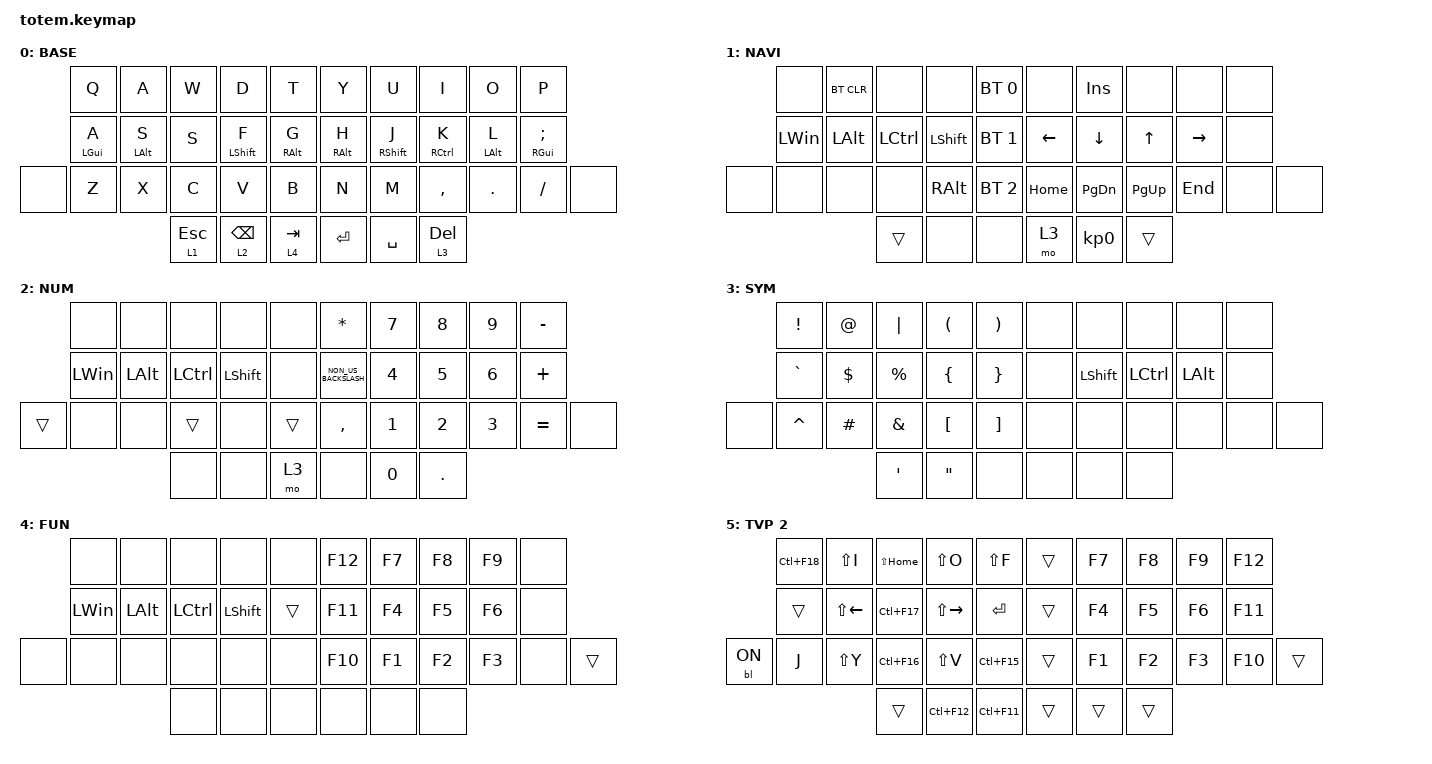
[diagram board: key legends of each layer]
//
//                                                        ▀▀▀▀▀     ▀▀▀▀▀          ▀▀█▀▀
//                                                        ▄▀▀▀▄  ▄  ▄▀▀▀▄  ▄  ▄▀▀▀▄  █  ▄▀▀▀▄
//                                                        █   █  █  █   █  █  █   █  █  █   █
//                                                         ▀▀▀   █   ▀▀▀   █   ▀▀▀   ▀   ▀▀▀
//                                                               █      ▄▄▄█▄▄▄    █   █  
//                                                               ▀      █  █  █     █▄█
//                                                             ▀▀▀▀▀    █  █  █      ▀
//                                                                      ▀  ▀  ▀
//
// ▄▄▄▄▄▄▄▄▄▄▄▄▄▄▄▄▄▄▄▄▄▄▄▄▄▄▄▄▄▄▄▄▄▄▄▄▄▄▄▄▄▄▄▄▄▄▄▄▄▄▄▄▄▄▄▄▄▄▄▄▄▄▄▄▄▄▄▄▄▄▄▄▄▄▄▄▄▄▄▄▄▄▄▄▄▄▄▄▄▄▄▄▄▄▄▄▄▄▄▄▄▄▄▄▄▄▄▄▄▄▄▄▄▄▄▄▄▄▄▄▄▄▄▄▄▄▄▄▄▄▄▄▄▄▄▄▄▄▄▄▄▄▄▄▄▄▄▄▄

#include <behaviors.dtsi>
#include <dt-bindings/zmk/backlight.h>
#include <dt-bindings/zmk/bt.h>
#include <dt-bindings/zmk/keys.h>

#define BASE 0
#define NAV  1
#define SYM  2
#define ADJ  3
#define TVP1 4
#define TVP2 5

&mt {
    quick-tap-ms = <100>;
    global-quick-tap;
    flavor = "hold-preferred";
    tapping-term-ms = <200>;
};

&lt {
    tapping-term-ms = <200>;
    flavor = "hold-preferred";
};

/ {
    combos {
        compatible = "zmk,combos";

        combo_esc {
            timeout-ms = <50>;
            key-positions = <0 1>;
            bindings = <&kp ESC>;
        };

        combo_tvp {
            timeout-ms = <100>;
            key-positions = <11 12 13>;
            bindings = <&tog 6>;
        };
    };

    macros {
        gif: gif {
            label = "giphy";
            compatible = "zmk,behavior-macro";
            #binding-cells = <0>;
            bindings =
                <&macro_press>,
                <&kp LSHFT>,
                <&macro_tap>,
                <&kp N2>,
                <&macro_release>,
                <&kp LSHFT>,
                <&macro_tap>,
                <&kp G &kp I &kp F>;
        };
    };

    keymap {
        compatible = "zmk,keymap";

        // ▄▄▄▄▄▄▄▄▄▄▄▄▄▄▄▄▄▄▄▄▄▄▄▄▄▄▄▄▄▄▄▄▄▄▄▄▄▄▄▄▄▄▄▄▄▄▄▄▄▄▄▄▄▄▄▄▄▄▄▄▄▄▄▄▄▄▄▄▄▄▄▄▄▄▄▄▄▄▄▄▄▄▄▄▄▄▄▄▄▄▄▄▄▄▄▄▄▄▄▄▄▄▄▄▄▄▄▄▄▄▄▄▄▄▄▄▄▄▄▄▄▄▄▄▄▄▄▄▄▄▄▄▄▄▄▄▄▄▄▄▄▄▄▄▄▄▄▄▄

        base_layer {
            // ┏━━━━━━━━━━━━━━━━━━━━━━━━━━━━━━━━━━━━━━━┓

            label = "BASE";

            // ┗━━━━━━━━━━━━━━━━━━━━━━━━━━━━━━━━━━━━━━━┛
            //             ┏━━━━━━━━━━━┳━━━━━━━━━━━┳━━━━━━━━━━━┳━━━━━━━━━━━┳━━━━━━━━━━━┓   ┏━━━━━━━━━━━┳━━━━━━━━━━━┳━━━━━━━━━━━┳━━━━━━━━━━━┳━━━━━━━━━━━┓
            //             ┃     Q     ┃     W     ┃     F     ┃     P     ┃     G     ┃   ┃     J     ┃     L     ┃     U     ┃     Y     ┃     ;     ┃
            //             ┣━━━━━━━━━━━╋━━━━━━━━━━━╋━━━━━━━━━━━╋━━━━━━━━━━━╋━━━━━━━━━━━┫   ┣━━━━━━━━━━━╋━━━━━━━━━━━╋━━━━━━━━━━━╋━━━━━━━━━━━╋━━━━━━━━━━━┫
            //             ┃     A     ┃     R     ┃     S     ┃     T     ┃     D     ┃   ┃     H     ┃     N     ┃     E     ┃     I     ┃     O     ┃
            // ┏━━━━━━━━━━━╋━━━━━━━━━━━╋━━━━━━━━━━━╋━━━━━━━━━━━╋━━━━━━━━━━━╋━━━━━━━━━━━┫   ┣━━━━━━━━━━━╋━━━━━━━━━━━╋━━━━━━━━━━━╋━━━━━━━━━━━╋━━━━━━━━━━━╋━━━━━━━━━━━┓
            // ┃     Q     ┃     Z     ┃     X     ┃     C     ┃     V     ┃     B     ┃   ┃     K     ┃     M     ┃     ,     ┃     .     ┃     /     ┃     \     ┃
            // ┗━━━━━━━━━━━┻━━━━━━━━━━━┻━━━━━━━━━━━╋━━━━━━━━━━━╋━━━━━━━━━━━╋━━━━━━━━━━━┫   ┣━━━━━━━━━━━╋━━━━━━━━━━━╋━━━━━━━━━━━╋━━━━━━━━━━━┻━━━━━━━━━━━┻━━━━━━━━━━━┛
            //                                     ┃    DEL    ┃    TAB    ┃    SPC    ┃   ┃   ENTER   ┃           ┃   BSPC    ┃
            //                                     ┗━━━━━━━━━━━┻━━━━━━━━━━━┻━━━━━━━━━━━┛   ┗━━━━━━━━━━━┻━━━━━━━━━━━┻━━━━━━━━━━━┛

            bindings = <
       &kp Q       &kp A       &kp W         &kp D            &kp T              &kp Y            &kp U        &kp I        &kp O           &kp P
       &mt LGUI A  &mt LALT S  &kp S         &mt LSHFT F      &mt RIGHT_ALT G    &mt RIGHT_ALT H  &mt RSHFT J  &mt RCTRL K  &mt LEFT_ALT L  &mt RGUI SEMICOLON
&none  &kp Z       &kp X       &kp C         &kp V            &kp B              &kp N            &kp M        &kp COMMA    &kp PERIOD      &kp FSLH            &none
                               &lt 1 ESCAPE  &lt 2 BACKSPACE  &lt 4 TAB          &kp RET          &kp SPACE    &lt 3 DEL
            >;
        };

        nav_layer {
            // ┏━━━━━━━━━━━━━━━━━━━━━━━━━━━━━━━━━━━━━━━┓

            label = "NAVI";

            // ┗━━━━━━━━━━━━━━━━━━━━━━━━━━━━━━━━━━━━━━━┛
            //             ┏━━━━━━━━━━━┳━━━━━━━━━━━┳━━━━━━━━━━━┳━━━━━━━━━━━┳━━━━━━━━━━━┓   ┏━━━━━━━━━━━┳━━━━━━━━━━━┳━━━━━━━━━━━┳━━━━━━━━━━━┳━━━━━━━━━━━┓
            //             ┃           ┃           ┃     UP    ┃           ┃     {     ┃   ┃     }     ┃     7     ┃     8     ┃     9     ┃     +     ┃
            //             ┣━━━━━━━━━━━╋━━━━━━━━━━━╋━━━━━━━━━━━╋━━━━━━━━━━━╋━━━━━━━━━━━┫   ┣━━━━━━━━━━━╋━━━━━━━━━━━╋━━━━━━━━━━━╋━━━━━━━━━━━╋━━━━━━━━━━━┫
            //             ┃   SHIFT   ┃   LEFT    ┃    DOWN   ┃   RIGHT   ┃     [     ┃   ┃     ]     ┃     4     ┃     5     ┃     6     ┃     -     ┃
            // ┏━━━━━━━━━━━╋━━━━━━━━━━━╋━━━━━━━━━━━╋━━━━━━━━━━━╋━━━━━━━━━━━╋━━━━━━━━━━━┫   ┣━━━━━━━━━━━╋━━━━━━━━━━━╋━━━━━━━━━━━╋━━━━━━━━━━━╋━━━━━━━━━━━╋━━━━━━━━━━━┓
            // ┃           ┃           ┃   P UP    ┃  C LOCK   ┃  P DOWN   ┃     (     ┃   ┃     )     ┃     1     ┃     2     ┃     3     ┃     *     ┃           ┃
            // ┗━━━━━━━━━━━┻━━━━━━━━━━━┻━━━━━━━━━━━╋━━━━━━━━━━━╋━━━━━━━━━━━╋━━━━━━━━━━━┫   ┣━━━━━━━━━━━╋━━━━━━━━━━━╋━━━━━━━━━━━╋━━━━━━━━━━━┻━━━━━━━━━━━┻━━━━━━━━━━━┛
            //                                     ┃           ┃    TAB    ┃    SPC    ┃   ┃    DEL    ┃     0     ┃           ┃
            //                                     ┗━━━━━━━━━━━┻━━━━━━━━━━━┻━━━━━━━━━━━┛   ┗━━━━━━━━━━━┻━━━━━━━━━━━┻━━━━━━━━━━━┛

            bindings = <
       &none     &bt BT_CLR    &none      &none          &bt BT_SEL 0    &none           &kp INS        &none         &none            &none
       &kp LWIN  &kp LEFT_ALT  &kp LCTRL  &kp LSHIFT     &bt BT_SEL 1    &kp LEFT_ARROW  &kp DOWN       &kp UP_ARROW  &kp RIGHT_ARROW  &none
&none  &none     &none         &none      &kp RIGHT_ALT  &bt BT_SEL 2    &kp HOME        &kp PAGE_DOWN  &kp PG_UP     &kp END          &none  &none
                               &trans     &none          &none           &mo 3           &kp KP_N0      &trans
            >;
        };

        num {
            // ┏━━━━━━━━━━━━━━━━━━━━━━━━━━━━━━━━━━━━━━━┓

            label = "NUM";

            // ┗━━━━━━━━━━━━━━━━━━━━━━━━━━━━━━━━━━━━━━━┛
            //             ┏━━━━━━━━━━━┳━━━━━━━━━━━┳━━━━━━━━━━━┳━━━━━━━━━━━┳━━━━━━━━━━━┓   ┏━━━━━━━━━━━┳━━━━━━━━━━━┳━━━━━━━━━━━┳━━━━━━━━━━━┳━━━━━━━━━━━┓
            //             ┃     !     ┃     @     ┃     #     ┃     $     ┃     %     ┃   ┃     ˆ     ┃     &     ┃     Ü     ┃     '     ┃     "     ┃
            //             ┣━━━━━━━━━━━╋━━━━━━━━━━━╋━━━━━━━━━━━╋━━━━━━━━━━━╋━━━━━━━━━━━┫   ┣━━━━━━━━━━━╋━━━━━━━━━━━╋━━━━━━━━━━━╋━━━━━━━━━━━╋━━━━━━━━━━━┫
            //             ┃     Ä     ┃           ┃    SZ     ┃           ┃           ┃   ┃   MUTE    ┃   YEN     ┃   EURO    ┃  POUND    ┃     Ö     ┃
            // ┏━━━━━━━━━━━╋━━━━━━━━━━━╋━━━━━━━━━━━╋━━━━━━━━━━━╋━━━━━━━━━━━╋━━━━━━━━━━━┫   ┣━━━━━━━━━━━╋━━━━━━━━━━━╋━━━━━━━━━━━╋━━━━━━━━━━━╋━━━━━━━━━━━╋━━━━━━━━━━━┓
            // ┃           ┃  EMAIL1   ┃  EMAIL2   ┃           ┃           ┃           ┃   ┃   VOL-    ┃   VOL+    ┃   LAST    ┃   NEXT    ┃     \     ┃           ┃
            // ┗━━━━━━━━━━━┻━━━━━━━━━━━┻━━━━━━━━━━━╋━━━━━━━━━━━╋━━━━━━━━━━━╋━━━━━━━━━━━┫   ┣━━━━━━━━━━━╋━━━━━━━━━━━╋━━━━━━━━━━━╋━━━━━━━━━━━┻━━━━━━━━━━━┻━━━━━━━━━━━┛
            //                                     ┃           ┃    GIF    ┃    ADJ    ┃   ┃           ┃           ┃           ┃
            //                                     ┗━━━━━━━━━━━┻━━━━━━━━━━━┻━━━━━━━━━━━┛   ┗━━━━━━━━━━━┻━━━━━━━━━━━┻━━━━━━━━━━━┛

            bindings = <
        &none     &none         &none      &none       &none     &kp ASTERISK          &kp NUMBER_7  &kp NUMBER_8  &kp NUMBER_9  &kp MINUS
        &kp LWIN  &kp LEFT_ALT  &kp LCTRL  &kp LSHIFT  &none     &kp NON_US_BACKSLASH  &kp NUMBER_4  &kp NUMBER_5  &kp NUMBER_6  &kp PLUS
&trans  &none     &none         &trans     &none       &trans    &kp COMMA             &kp NUMBER_1  &kp NUMBER_2  &kp NUMBER_3  &kp EQUAL  &none
                                &none      &none       &mo 3     &none                 &kp NUMBER_0  &kp PERIOD
            >;
        };

        sym {
            // ┏━━━━━━━━━━━━━━━━━━━━━━━━━━━━━━━━━━━━━━━┓

            label = "SYM";

            // ┗━━━━━━━━━━━━━━━━━━━━━━━━━━━━━━━━━━━━━━━┛
            //             ┏━━━━━━━━━━━┳━━━━━━━━━━━┳━━━━━━━━━━━┳━━━━━━━━━━━┳━━━━━━━━━━━┓   ┏━━━━━━━━━━━┳━━━━━━━━━━━┳━━━━━━━━━━━┳━━━━━━━━━━━┳━━━━━━━━━━━┓
            //             ┃ NEXT FILE ┃ MARK IN   ┃ ROTATE    ┃ MARK OUT  ┃ SHOW SNAP ┃   ┃           ┃           ┃           ┃           ┃           ┃
            //             ┣━━━━━━━━━━━╋━━━━━━━━━━━╋━━━━━━━━━━━╋━━━━━━━━━━━╋━━━━━━━━━━━┫   ┣━━━━━━━━━━━╋━━━━━━━━━━━╋━━━━━━━━━━━╋━━━━━━━━━━━╋━━━━━━━━━━━┫
            //             ┃ TVP II    ┃ LEFT      ┃ PAN       ┃ RIGHT     ┃ PLAY/FLIP ┃   ┃           ┃           ┃           ┃           ┃           ┃
            // ┏━━━━━━━━━━━╋━━━━━━━━━━━╋━━━━━━━━━━━╋━━━━━━━━━━━╋━━━━━━━━━━━╋━━━━━━━━━━━┫   ┣━━━━━━━━━━━╋━━━━━━━━━━━╋━━━━━━━━━━━╋━━━━━━━━━━━╋━━━━━━━━━━━╋━━━━━━━━━━━┓
            // ┃ FULLSCR   ┃ SHIFT     ┃ COPY      ┃ DELETE    ┃ PASTE     ┃ IMG MARK  ┃   ┃           ┃           ┃           ┃           ┃           ┃           ┃
            // ┗━━━━━━━━━━━┻━━━━━━━━━━━┻━━━━━━━━━━━╋━━━━━━━━━━━╋━━━━━━━━━━━╋━━━━━━━━━━━┫   ┣━━━━━━━━━━━╋━━━━━━━━━━━╋━━━━━━━━━━━╋━━━━━━━━━━━┻━━━━━━━━━━━┻━━━━━━━━━━━┛
            //                                     ┃           ┃ UNDO/SAVE ┃  SEL/MOV  ┃   ┃           ┃           ┃           ┃
            //                                     ┗━━━━━━━━━━━┻━━━━━━━━━━━┻━━━━━━━━━━━┛   ┗━━━━━━━━━━━┻━━━━━━━━━━━┻━━━━━━━━━━━┛

            bindings = <
       &kp EXCLAMATION  &kp AT_SIGN  &kp PIPE          &kp LEFT_PARENTHESIS  &kp RIGHT_PARENTHESIS    &none  &none           &none      &none         &none
       &kp GRAVE        &kp DOLLAR   &kp PERCENT       &kp LEFT_BRACE        &kp RIGHT_BRACE          &none  &kp LEFT_SHIFT  &kp LCTRL  &kp LEFT_ALT  &none
&none  &kp CARET        &kp HASH     &kp AMPERSAND     &kp LEFT_BRACKET      &kp RIGHT_BRACKET        &none  &none           &none      &none         &none  &none
                                     &kp SINGLE_QUOTE  &kp DOUBLE_QUOTES     &none                    &none  &none           &none
            >;
        };

        fun {
            // ┏━━━━━━━━━━━━━━━━━━━━━━━━━━━━━━━━━━━━━━━┓

            label = "FUN";

            // ┗━━━━━━━━━━━━━━━━━━━━━━━━━━━━━━━━━━━━━━━┛
            //             ┏━━━━━━━━━━━┳━━━━━━━━━━━┳━━━━━━━━━━━┳━━━━━━━━━━━┳━━━━━━━━━━━┓   ┏━━━━━━━━━━━┳━━━━━━━━━━━┳━━━━━━━━━━━┳━━━━━━━━━━━┳━━━━━━━━━━━┓
            //             ┃   RESET   ┃ BT CLEAR  ┃  OUT TOG  ┃           ┃           ┃   ┃           ┃    F7     ┃    F8     ┃    F9     ┃    F12    ┃
            //             ┣━━━━━━━━━━━╋━━━━━━━━━━━╋━━━━━━━━━━━╋━━━━━━━━━━━╋━━━━━━━━━━━┫   ┣━━━━━━━━━━━╋━━━━━━━━━━━╋━━━━━━━━━━━╋━━━━━━━━━━━╋━━━━━━━━━━━┫
            //             ┃ BOOTLOAD  ┃ BT NEXT   ┃           ┃           ┃           ┃   ┃           ┃    F4     ┃    F5     ┃    F6     ┃    F11    ┃
            // ┏━━━━━━━━━━━╋━━━━━━━━━━━╋━━━━━━━━━━━╋━━━━━━━━━━━╋━━━━━━━━━━━╋━━━━━━━━━━━┫   ┣━━━━━━━━━━━╋━━━━━━━━━━━╋━━━━━━━━━━━╋━━━━━━━━━━━╋━━━━━━━━━━━╋━━━━━━━━━━━┓
            // ┃           ┃           ┃ BT PREV   ┃           ┃           ┃           ┃   ┃           ┃    F1     ┃    F2     ┃    F3     ┃    F10    ┃           ┃
            // ┗━━━━━━━━━━━┻━━━━━━━━━━━┻━━━━━━━━━━━╋━━━━━━━━━━━╋━━━━━━━━━━━╋━━━━━━━━━━━┫   ┣━━━━━━━━━━━╋━━━━━━━━━━━╋━━━━━━━━━━━╋━━━━━━━━━━━┻━━━━━━━━━━━┻━━━━━━━━━━━┛
            //                                     ┃           ┃           ┃           ┃   ┃           ┃           ┃           ┃
            //                                     ┗━━━━━━━━━━━┻━━━━━━━━━━━┻━━━━━━━━━━━┛   ┗━━━━━━━━━━━┻━━━━━━━━━━━┻━━━━━━━━━━━┛

            bindings = <
       &none     &none         &none      &none      &none     &kp F12  &kp F7  &kp F8  &kp F9  &none
       &kp LWIN  &kp LEFT_ALT  &kp LCTRL  &kp LSHFT  &trans    &kp F11  &kp F4  &kp F5  &kp F6  &none
&none  &none     &none         &none      &none      &none     &kp F10  &kp F1  &kp F2  &kp F3  &none  &trans
                               &none      &none      &none     &none    &none   &none
            >;
        };

        tvp2_layer {
            // ┏━━━━━━━━━━━━━━━━━━━━━━━━━━━━━━━━━━━━━━━┓

            label = "TVP 2";

            // ┗━━━━━━━━━━━━━━━━━━━━━━━━━━━━━━━━━━━━━━━┛
            //             ┏━━━━━━━━━━━┳━━━━━━━━━━━┳━━━━━━━━━━━┳━━━━━━━━━━━┳━━━━━━━━━━━┓   ┏━━━━━━━━━━━┳━━━━━━━━━━━┳━━━━━━━━━━━┳━━━━━━━━━━━┳━━━━━━━━━━━┓
            //             ┃ SOLO      ┃ TOGGLE IN ┃ RESET ROT ┃ TOGGLE OUT┃ TAKE SNAP ┃   ┃           ┃           ┃           ┃           ┃           ┃
            //             ┣━━━━━━━━━━━╋━━━━━━━━━━━╋━━━━━━━━━━━╋━━━━━━━━━━━╋━━━━━━━━━━━┫   ┣━━━━━━━━━━━╋━━━━━━━━━━━╋━━━━━━━━━━━╋━━━━━━━━━━━╋━━━━━━━━━━━┫
            //             ┃ ---       ┃ LAST KEY  ┃ NEW KEY   ┃ NEXT KEY  ┃ ENTER     ┃   ┃           ┃           ┃           ┃           ┃           ┃
            // ┏━━━━━━━━━━━╋━━━━━━━━━━━╋━━━━━━━━━━━╋━━━━━━━━━━━╋━━━━━━━━━━━╋━━━━━━━━━━━┫   ┣━━━━━━━━━━━╋━━━━━━━━━━━╋━━━━━━━━━━━╋━━━━━━━━━━━╋━━━━━━━━━━━╋━━━━━━━━━━━┓
            // ┃           ┃ FULLSCR   ┃ CPY2BRUSH ┃ DEL HEAD  ┃ PSTinPLACE┃ BOOK MARK ┃   ┃           ┃           ┃           ┃           ┃           ┃           ┃
            // ┗━━━━━━━━━━━┻━━━━━━━━━━━┻━━━━━━━━━━━╋━━━━━━━━━━━╋━━━━━━━━━━━╋━━━━━━━━━━━┫   ┣━━━━━━━━━━━╋━━━━━━━━━━━╋━━━━━━━━━━━╋━━━━━━━━━━━┻━━━━━━━━━━━┻━━━━━━━━━━━┛
            //                                     ┃           ┃ REDO/SAV1 ┃TRANS/WARP ┃   ┃           ┃           ┃           ┃
            //                                     ┗━━━━━━━━━━━┻━━━━━━━━━━━┻━━━━━━━━━━━┛   ┗━━━━━━━━━━━┻━━━━━━━━━━━┻━━━━━━━━━━━┛

            bindings = <
           &kp LC(F18)  &kp LS(I)     &kp LS(HOME)  &kp LS(O)      &kp LS(F)      &trans  &kp F7  &kp F8  &kp F9  &kp F12
           &trans       &kp LS(LEFT)  &kp LC(F17)   &kp LS(RIGHT)  &kp RET        &trans  &kp F4  &kp F5  &kp F6  &kp F11
&bl BL_ON  &kp J        &kp LS(Y)     &kp LC(F16)   &kp LS(V)      &kp LC(F15)    &trans  &kp F1  &kp F2  &kp F3  &kp F10  &trans
                                      &trans        &kp LC(F12)    &kp LC(F11)    &trans  &trans  &trans
            >;
        };
    };
};
